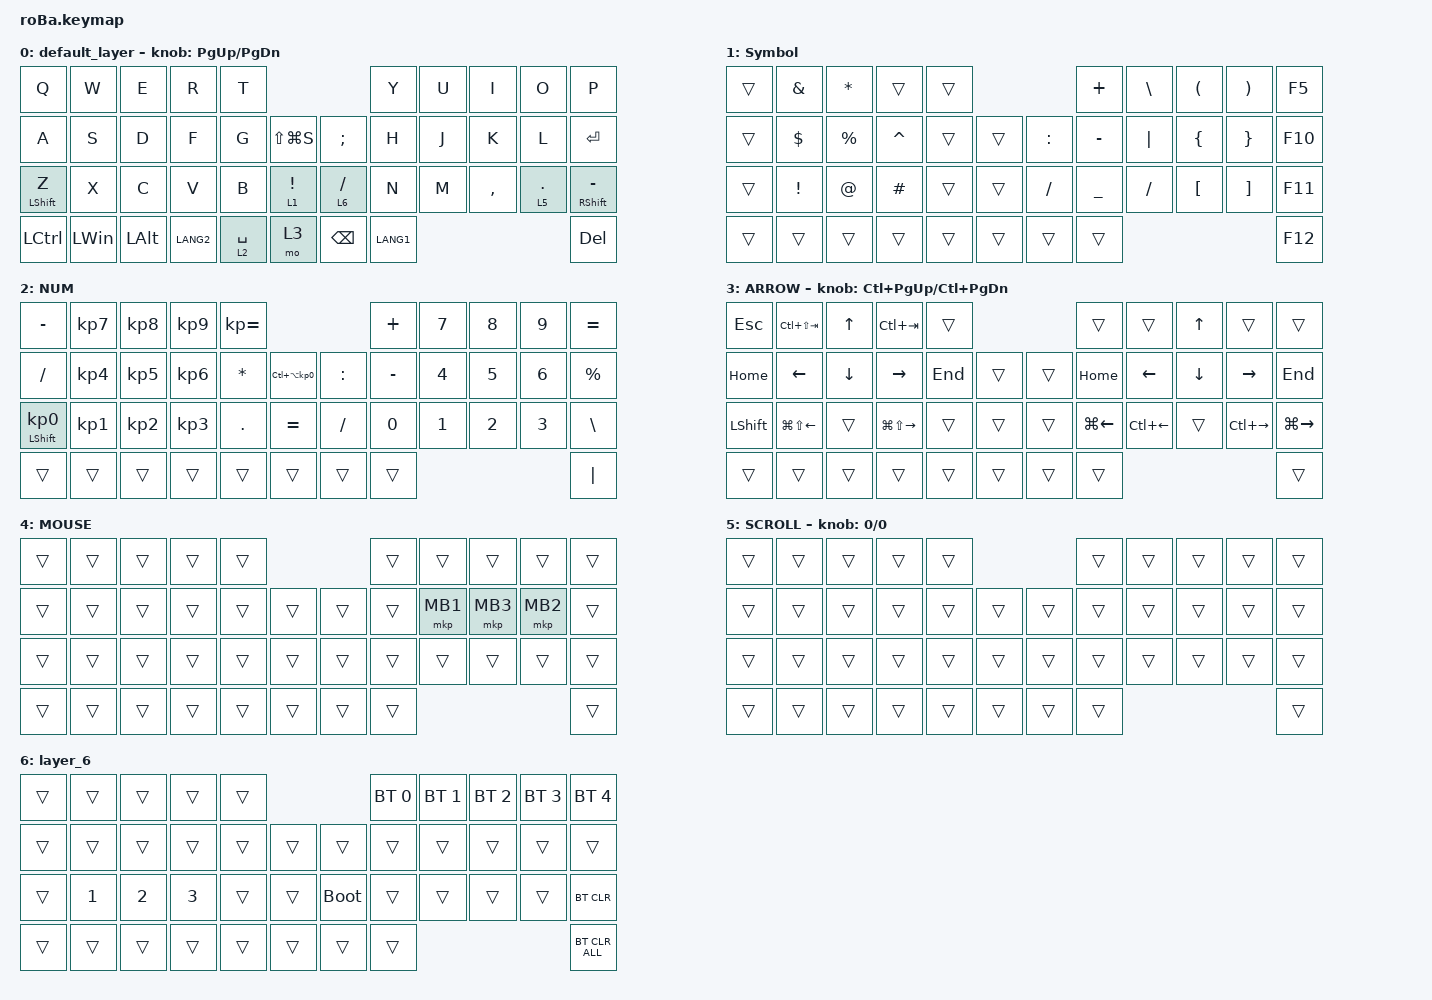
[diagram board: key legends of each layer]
#include <behaviors.dtsi>
#include <dt-bindings/zmk/bt.h>
#include <dt-bindings/zmk/keys.h>
#include <dt-bindings/zmk/pointing.h>

&mt {
    flavor = "balanced";
    quick-tap-ms = <0>;
};

&trackball {
    automouse-layer = <4>;
    scroll-layers = <5>;

    // arrows {
    //     layers = <3>;
    //     bindings =
    //         <&kp RIGHT_ARROW>,
    //         <&kp LEFT_ARROW>,
    //         <&kp UP_ARROW>,
    //         <&kp DOWN_ARROW>;
    //     tick = <10>;
    //     wait-ms = <5>;
    //     tap-ms = <5>;
    // };
};

/ {
    combos {
        compatible = "zmk,combos";

        tab {
            bindings = <&kp TAB>;
            key-positions = <11 12>;
        };

        shift_tab {
            bindings = <&kp LS(TAB)>;
            key-positions = <12 13>;
        };

        muhennkann {
            bindings = <&to_layer_0 INT_MUHENKAN>;
            key-positions = <11 10>;
        };

        double_quotation {
            bindings = <&kp DOUBLE_QUOTES>;
            key-positions = <20 21>;
        };

        eq {
            bindings = <&kp EQUAL>;
            key-positions = <24 25>;
        };

        Sup {
            bindings = <&kp CARET>;
            key-positions = <8 9>;
        };

        Sub {
            bindings = <&kp UNDERSCORE>;
            key-positions = <33 32>;
        };

        Esc {
            bindings = <&kp ESCAPE>;
            key-positions = <0 1>;
        };
    };

    macros {
        to_layer_0: to_layer_0 {
            compatible = "zmk,behavior-macro-one-param";
            #binding-cells = <1>;
            bindings = <&to 0 &macro_param_1to1 &kp MACRO_PLACEHOLDER>;
            label = "TO_LAYER_0";
        };
    };

    behaviors {
        lt_to_layer_0: lt_to_layer_0 {
            compatible = "zmk,behavior-hold-tap";
            label = "LAYER_TAP_TO_0";
            bindings = <&mo>, <&to_layer_0>;

            #binding-cells = <2>;
            tapping-term-ms = <200>;
        };
    };

    keymap {
        compatible = "zmk,keymap";

        default_layer {
            bindings = <
&kp Q             &kp W         &kp E         &kp R      &kp T                                              &kp Y      &kp U  &kp I      &kp O      &kp P
&kp A             &kp S         &kp D         &kp F      &kp G        &kp LS(LG(S))          &kp SEMI       &kp H      &kp J  &kp K      &kp L      &kp ENTER
&mt LEFT_SHIFT Z  &kp X         &kp C         &kp V      &kp B        &lt 1 EXCLAMATION      &lt 6 SLASH    &kp N      &kp M  &kp COMMA  &lt 5 DOT  &mt RIGHT_SHIFT MINUS
&kp LCTRL         &kp LEFT_WIN  &kp LEFT_ALT  &kp LANG2  &lt 2 SPACE  &mo 3                  &kp BACKSPACE  &kp LANG1                               &kp DEL
            >;

            sensor-bindings = <&inc_dec_kp PG_UP PAGE_DOWN>;
        };

        Symbol {
            bindings = <
&trans  &kp AMPERSAND  &kp ASTERISK  &trans     &trans                         &kp PLUS        &kp BSLH   &kp LPAR  &kp RPAR  &kp F5
&trans  &kp DOLLAR     &kp PERCENT   &kp CARET  &trans  &trans      &kp COLON  &kp MINUS       &kp PIPE   &kp LBRC  &kp RBRC  &kp F10
&trans  &kp EXCL       &kp AT_SIGN   &kp POUND  &trans  &trans      &kp SLASH  &kp UNDERSCORE  &kp SLASH  &kp LBKT  &kp RBKT  &kp F11
&trans  &trans         &trans        &trans     &trans  &trans      &trans     &trans                                         &kp F12
            >;
        };

        NUM {
            bindings = <
&kp MINUS                   &kp KP_NUMBER_7  &kp KP_NUMBER_8  &kp KP_NUMBER_9  &kp KP_EQUAL                                          &kp PLUS   &kp N7  &kp N8        &kp N9  &kp EQUAL
&kp SLASH                   &kp KP_NUMBER_4  &kp KP_NUMBER_5  &kp KP_NUMBER_6  &kp ASTERISK  &kp LC(LA(KP_NUMBER_0))      &kp COLON  &kp MINUS  &kp N4  &kp N5        &kp N6  &kp PERCENT
&mt LEFT_SHIFT KP_NUMBER_0  &kp KP_NUMBER_1  &kp KP_NUMBER_2  &kp KP_NUMBER_3  &kp PERIOD    &kp EQUAL                    &kp SLASH  &kp N0     &kp N1  &kp NUMBER_2  &kp N3  &kp BACKSLASH
&trans                      &trans           &trans           &trans           &trans        &trans                       &trans     &trans                                   &kp PIPE
            >;
        };

        ARROW {
            bindings = <
&kp ESCAPE      &kp LC(LS(TAB))         &kp UP_ARROW    &kp LC(TAB)              &trans                       &trans              &trans              &kp UP_ARROW    &trans               &trans
&kp HOME        &kp LEFT_ARROW          &kp DOWN_ARROW  &kp RIGHT_ARROW          &kp END  &trans      &trans  &kp HOME            &kp LEFT_ARROW      &kp DOWN_ARROW  &kp RIGHT_ARROW      &kp END
&kp LEFT_SHIFT  &kp LG(LS(LEFT_ARROW))  &trans          &kp LG(LS(RIGHT_ARROW))  &trans   &trans      &trans  &kp LG(LEFT_ARROW)  &kp LC(LEFT_ARROW)  &trans          &kp LC(RIGHT_ARROW)  &kp LG(RIGHT_ARROW)
&trans          &trans                  &trans          &trans                   &trans   &trans      &trans  &trans                                                                       &trans
            >;

            sensor-bindings = <&inc_dec_kp LC(PAGE_UP) LC(PAGE_DOWN)>;
        };

        MOUSE {
            bindings = <
&trans  &trans  &trans  &trans  &trans                      &trans  &trans    &trans    &trans    &trans
&trans  &trans  &trans  &trans  &trans  &trans      &trans  &trans  &mkp MB1  &mkp MB3  &mkp MB2  &trans
&trans  &trans  &trans  &trans  &trans  &trans      &trans  &trans  &trans    &trans    &trans    &trans
&trans  &trans  &trans  &trans  &trans  &trans      &trans  &trans                                &trans
            >;
        };

        SCROLL {
            bindings = <
&trans  &trans  &trans  &trans  &trans                      &trans  &trans  &trans  &trans  &trans
&trans  &trans  &trans  &trans  &trans  &trans      &trans  &trans  &trans  &trans  &trans  &trans
&trans  &trans  &trans  &trans  &trans  &trans      &trans  &trans  &trans  &trans  &trans  &trans
&trans  &trans  &trans  &trans  &trans  &trans      &trans  &trans                          &trans
            >;

            sensor-bindings = <&inc_dec_kp 0 0>;
        };

        layer_6 {
            bindings = <
&trans  &trans        &trans        &trans        &trans                           &bt BT_SEL 0  &bt BT_SEL 1  &bt BT_SEL 2  &bt BT_SEL 3  &bt BT_SEL 4
&trans  &trans        &trans        &trans        &trans  &trans      &trans       &trans        &trans        &trans        &trans        &trans
&trans  &kp NUMBER_1  &kp NUMBER_2  &kp NUMBER_3  &trans  &trans      &bootloader  &trans        &trans        &trans        &trans        &bt BT_CLR
&trans  &trans        &trans        &trans        &trans  &trans      &trans       &trans                                                  &bt BT_CLR_ALL
            >;
        };
    };
};
